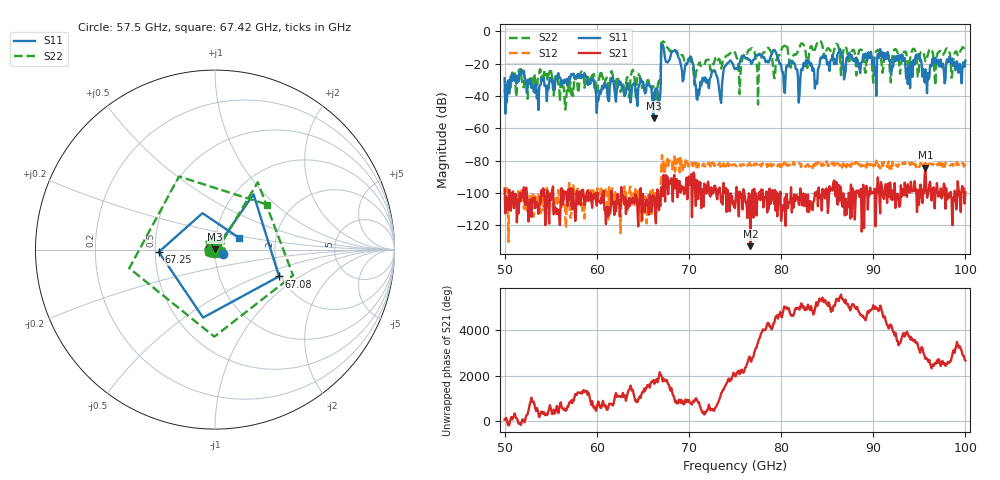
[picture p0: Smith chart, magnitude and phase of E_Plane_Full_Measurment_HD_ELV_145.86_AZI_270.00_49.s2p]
! 11/26/2026 3:41:23 PM
! C:\ANRITSUVNA\TEMP\TEMP.S2P
! CHANNEL.1
! TR.MEASUREMENT
! RAW.DATA
# HZ S RI R 50.0
! FREQ.HZ  S11RE  S11IM  S21RE  S21IM  S12RE  S12IM  S22RE  S22IM
!; PortSelection: Port_12
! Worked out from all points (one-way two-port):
!   601 points, 50 GHz to 100 GHz, reference 50 ohm
!   highest |S21| = -84.36 dB at 95.67 GHz (marker M1); lowest = -133.0 dB at 76.67 GHz (marker M2)
!   lowest |S11| = -53.9 dB at 66.17 GHz (marker M3), VSWR 1.00, Z = 50.1 + j0.146 ohm
!   |S11| at or under -10 dB: start of sweep to 67 GHz; 67.25 GHz to end of sweep
!   |S22| runs from -48.4 to -5.6 dB; largest |S21 - S12| = 0.00015
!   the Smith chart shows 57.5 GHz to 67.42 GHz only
!   S11 on the Smith chart (normalised r, x): 57.5 GHz: 1.09, -0.05; 67.08 GHz: 1.95, -0.69; 67.25 GHz: 0.52, -0.02; 67.42 GHz: 1.29, +0.18
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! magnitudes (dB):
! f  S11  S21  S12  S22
! 50 GHz  -28.9  -97.3  -103.3  -35.6
! 57.5 GHz  -26.1  -104.6  -96.8  -34.6
! 58.42 GHz  -27.1  -98.2  -111.0  -24.8
! 60.17 GHz  -42.7  -105.2  -99.9  -30.4
! 66.17 GHz  -53.9  -102.0  -108.1  -34.0
! 66.67 GHz  -41.5  -100.1  -100.6  -31.6
! 67.08 GHz  -8.3  -96.0  -76.6  -6.8
! 67.25 GHz  -10.1  -88.9  -79.8  -6.2
! 67.42 GHz  -16.6  -105.4  -84.7  -8.3
! 70.25 GHz  -15.9  -88.4  -80.7  -18.8
! 70.92 GHz  -42.4  -99.4  -80.4  -23.2
! 75 GHz  -23.3  -109.4  -82.5  -12.9
! 75.58 GHz  -17.9  -102.7  -83.4  -27.0
! 76.67 GHz  -18.0  -133.0  -82.7  -11.2
! 77.58 GHz  -13.8  -100.2  -82.5  -21.9
! 78.5 GHz  -18.2  -112.1  -83.9  -10.8
! 79.33 GHz  -11.8  -98.2  -83.4  -28.8
! 80.25 GHz  -27.8  -110.7  -82.2  -9.3
! 83.42 GHz  -24.5  -110.7  -84.6  -10.8
! 91.67 GHz  -16.6  -94.1  -80.7  -15.2
! 95.67 GHz  -23.5  -84.4  -81.3  -18.5
! 100 GHz  -18.0  -99.6  -81.9  -12.5
